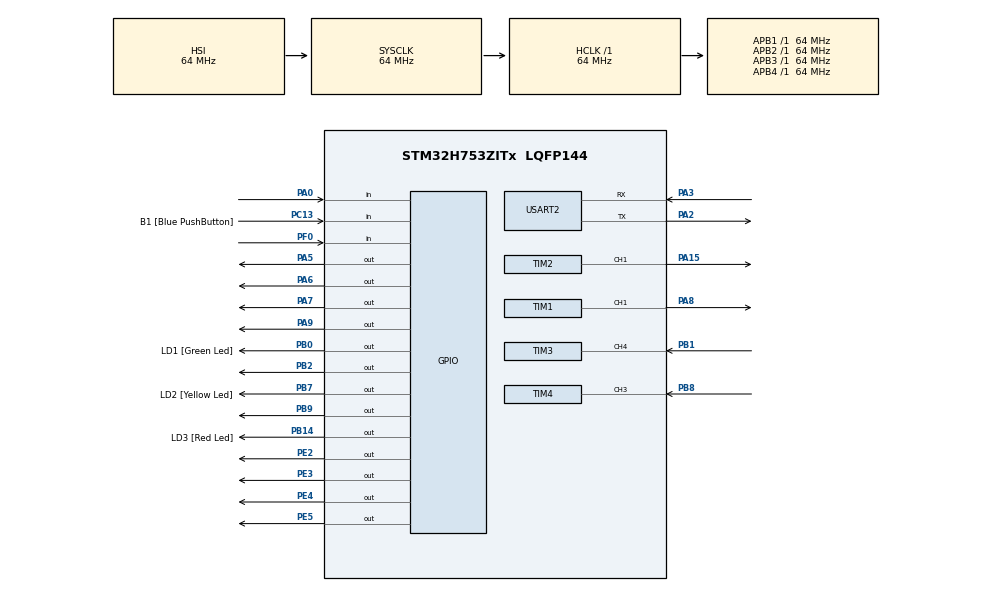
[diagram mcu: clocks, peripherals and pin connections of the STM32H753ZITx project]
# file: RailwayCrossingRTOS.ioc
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CORTEX_M7.CPU_DCache=Disabled
CORTEX_M7.CPU_ICache=Disabled
CORTEX_M7.MPU_Control=__NULL
CORTEX_M7.default_mode_Activation=1
FREERTOS.BinarySemaphores01=ultrasonicSemGate1,Dynamic,NULL,Depleted;ultrasonicSemGate2,Dynamic,NULL,Depleted
FREERTOS.Mutexes01=stateMutex,Dynamic,NULL,Available;printMutex,Dynamic,NULL,Available
FREERTOS.Queues01=printQueue,20,uint16_t,0,Dynamic,NULL,NULL
FREERTOS.Tasks01=defaultTask,24,128,StartDefaultTask,Default,NULL,Dynamic,NULL,NULL;SensorMonitor1,32,512,StartSensorMonitor1Task,Default,NULL,Dynamic,NULL,NULL;SensorMonitor2,32,512,StartSensorMonitor2Task,Default,NULL,Dynamic,NULL,NULL;ServoControl1,40,512,StartServoControl1Task,Default,NULL,Dynamic,NULL,NULL;ServoControl2,40,512,StartServoControl2Task,Default,NULL,Dynamic,NULL,NULL;LEDBuzzer,24,256,StartLEDBuzzerTask,Default,NULL,Dynamic,NULL,NULL;UARTPrint,8,256,StartUARTPrintTask,Default,NULL,Dynamic,NULL,NULL
FREERTOS.configUSE_NEWLIB_REENTRANT=1
Mcu.Family=STM32H7
Mcu.Name=STM32H753ZITx
Mcu.Package=LQFP144
NVIC.PriorityGroup=NVIC_PRIORITYGROUP_4
NVIC.TIM3_IRQn=true\:5\:0\:false\:false\:true\:true\:true\:true\:true
NVIC.TIM4_IRQn=true\:5\:0\:false\:false\:true\:true\:true\:true\:true
NVIC.TIM6_DAC_IRQn=true\:15\:0\:false\:false\:true\:false\:false\:true\:true
NVIC.TimeBase=TIM6_DAC_IRQn
NVIC.TimeBaseIP=TIM6
PA0.Signal=GPIO_Input
PA15\ (JTDI).Signal=S_TIM2_CH1_ETR
PA2.Mode=Asynchronous
PA2.Signal=USART2_TX
PA3.Mode=Asynchronous
PA3.Signal=USART2_RX
PA5.Signal=GPIO_Output
PA6.Signal=GPIO_Output
PA7.Signal=GPIO_Output
PA8.Signal=S_TIM1_CH1
PA9.Signal=GPIO_Output
PB0.GPIO_Label=LD1 [Green Led]
PB0.Signal=GPIO_Output
PB1.GPIO_Speed=GPIO_SPEED_FREQ_HIGH
PB1.Signal=S_TIM3_CH4
PB14.GPIO_Label=LD3 [Red Led]
PB14.Signal=GPIO_Output
PB2.Signal=GPIO_Output
PB7.GPIO_Label=LD2 [Yellow Led]
PB7.Signal=GPIO_Output
PB8.GPIO_Speed=GPIO_SPEED_FREQ_HIGH
PB8.Signal=S_TIM4_CH3
PB9.Signal=GPIO_Output
PC13.GPIO_Label=B1 [Blue PushButton]
PC13.Signal=GPIO_Input
PC14-OSC32_IN\ (OSC32_IN).Signal=RCC_OSC32_IN
PC15-OSC32_OUT\ (OSC32_OUT).Signal=RCC_OSC32_OUT
PD8.GPIO_Label=STLINK_RX
PD8.Signal=USART3_TX
PD9.GPIO_Label=STLINK_TX
PD9.Signal=USART3_RX
PE2.Signal=GPIO_Output
PE3.Signal=GPIO_Output
PE4.Signal=GPIO_Output
PE5.Signal=GPIO_Output
PF0.Signal=GPIO_Input
PH0-OSC_IN\ (PH0).Signal=RCC_OSC_IN
PH1-OSC_OUT\ (PH1).Signal=RCC_OSC_OUT
ProjectManager.HeapSize=0x200
ProjectManager.StackSize=0x400
ProjectManager.TargetToolchain=STM32CubeIDE
RCC.ADCFreq_Value=129000000
RCC.APB1Freq_Value=64000000
RCC.APB2Freq_Value=64000000
RCC.APB3Freq_Value=64000000
RCC.APB4Freq_Value=64000000
RCC.CortexFreq_Value=64000000
RCC.DIVM1=1
RCC.DIVN1=24
RCC.DIVQ1=4
RCC.HCLKFreq_Value=64000000
RCC.HSE_VALUE=8000000
RCC.PLLFRACN=0
RCC.PWR_Regulator_Voltage_Scale=PWR_REGULATOR_VOLTAGE_SCALE2
RCC.SYSCLKFreq_VALUE=64000000
RCC.USBFreq_Value=384000000
SH.S_TIM1_CH1.0=TIM1_CH1,PWM Generation1 CH1
SH.S_TIM2_CH1_ETR.0=TIM2_CH1,PWM Generation1 CH1
SH.S_TIM3_CH4.0=TIM3_CH4,Input_Capture4_from_TI4
SH.S_TIM4_CH3.0=TIM4_CH3,Input_Capture3_from_TI3
TIM1.Channel-PWM\ Generation1\ CH1=TIM_CHANNEL_1
TIM1.Period=1999
TIM1.Prescaler=639
TIM2.Channel-PWM\ Generation1\ CH1=TIM_CHANNEL_1
TIM2.Period=1999
TIM2.Prescaler=639
TIM3.Channel-Input_Capture4_from_TI4=TIM_CHANNEL_4
TIM3.Prescaler=199
TIM4.Channel-Input_Capture3_from_TI3=TIM_CHANNEL_3
TIM4.Prescaler=199
USART2.VirtualMode-Asynchronous=VM_ASYNC
VP_FREERTOS_VS_CMSIS_V2.Mode=CMSIS_V2
VP_MEMORYMAP_VS_MEMORYMAP.Mode=CurAppReg
VP_SYS_VS_tim6.Mode=TIM6
VP_TIM1_VS_ClockSourceINT.Mode=Internal
VP_TIM2_VS_ClockSourceINT.Mode=Internal
VP_TIM3_VS_ClockSourceINT.Mode=Internal
VP_TIM4_VS_ClockSourceINT.Mode=Internal
board=NUCLEO-H753ZI

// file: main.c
/* USER CODE BEGIN Header */
/**
  ******************************************************************************
  * @file           : main.c
  * @brief          : Main program body
  ******************************************************************************
  * @attention
  *
  * Copyright (c) 2026 STMicroelectronics.
  * All rights reserved.
  *
  * This software is licensed under terms that can be found in the LICENSE file
  * in the root directory of this software component.
  * If no LICENSE file comes with this software, it is provided AS-IS.
  *
  ******************************************************************************
  */
/* USER CODE END Header */
#include "main.h"
#include "cmsis_os.h"

/* USER CODE BEGIN Includes */
#include <stdio.h>
#include <string.h>
#include <stdarg.h>
/* USER CODE END Includes */

/* USER CODE BEGIN PD */
#define ULTRASONIC_MIN_CM 2.0f
#define ULTRASONIC_MAX_CM 15.0f
/* USER CODE END PD */

TIM_HandleTypeDef htim1;
TIM_HandleTypeDef htim2;
TIM_HandleTypeDef htim3;
TIM_HandleTypeDef htim4;

UART_HandleTypeDef huart2;

/* Definitions for defaultTask */
osThreadId_t defaultTaskHandle;
const osThreadAttr_t defaultTask_attributes = {
  .name = "defaultTask",
  .stack_size = 128 * 4,
  .priority = (osPriority_t) osPriorityNormal,
};
/* Definitions for SensorMonitor1 */
osThreadId_t SensorMonitor1Handle;
const osThreadAttr_t SensorMonitor1_attributes = {
  .name = "SensorMonitor1",
  .stack_size = 512 * 4,
  .priority = (osPriority_t) osPriorityAboveNormal,
};
/* Definitions for SensorMonitor2 */
osThreadId_t SensorMonitor2Handle;
const osThreadAttr_t SensorMonitor2_attributes = {
  .name = "SensorMonitor2",
  .stack_size = 512 * 4,
  .priority = (osPriority_t) osPriorityAboveNormal,
};
/* Definitions for ServoControl1 */
osThreadId_t ServoControl1Handle;
const osThreadAttr_t ServoControl1_attributes = {
  .name = "ServoControl1",
  .stack_size = 512 * 4,
  .priority = (osPriority_t) osPriorityHigh,
};
/* Definitions for ServoControl2 */
osThreadId_t ServoControl2Handle;
const osThreadAttr_t ServoControl2_attributes = {
  .name = "ServoControl2",
  .stack_size = 512 * 4,
  .priority = (osPriority_t) osPriorityHigh,
};
/* Definitions for LEDBuzzer */
osThreadId_t LEDBuzzerHandle;
const osThreadAttr_t LEDBuzzer_attributes = {
  .name = "LEDBuzzer",
  .stack_size = 256 * 4,
  .priority = (osPriority_t) osPriorityNormal,
};
/* Definitions for UARTPrint */
osThreadId_t UARTPrintHandle;
const osThreadAttr_t UARTPrint_attributes = {
  .name = "UARTPrint",
  .stack_size = 256 * 4,
  .priority = (osPriority_t) osPriorityLow,
};
/* Definitions for printQueue */
osMessageQueueId_t printQueueHandle;
const osMessageQueueAttr_t printQueue_attributes = {
  .name = "printQueue"
};
/* Definitions for stateMutex */
osMutexId_t stateMutexHandle;
const osMutexAttr_t stateMutex_attributes = {
  .name = "stateMutex"
};
/* Definitions for printMutex */
osMutexId_t printMutexHandle;
const osMutexAttr_t printMutex_attributes = {
  .name = "printMutex"
};
/* Definitions for ultrasonicSemGate1 */
osSemaphoreId_t ultrasonicSemGate1Handle;
const osSemaphoreAttr_t ultrasonicSemGate1_attributes = {
  .name = "ultrasonicSemGate1"
};
/* Definitions for ultrasonicSemGate2 */
osSemaphoreId_t ultrasonicSemGate2Handle;
const osSemaphoreAttr_t ultrasonicSemGate2_attributes = {
  .name = "ultrasonicSemGate2"
};
/* USER CODE BEGIN PV */
osEventFlagsId_t closeEvent;
osEventFlagsId_t openEvent;

volatile uint32_t ic_val1_gate1 = 0, ic_val2_gate1 = 0;
volatile uint8_t is_first_capture_gate1 = 0;
volatile uint32_t echo_ticks_gate1 = 0;
float distance_cm_gate1 = 0.0f;

volatile uint32_t ic_val1_gate2 = 0, ic_val2_gate2 = 0;
volatile uint8_t is_first_capture_gate2 = 0;
volatile uint32_t echo_ticks_gate2 = 0;
float distance_cm_gate2 = 0.0f;

float tick_us_pwm;

volatile uint8_t sweeping_down = 0;
volatile uint8_t gates_closed = 0;
volatile uint8_t gates_closed_count = 0;
volatile uint8_t train_passing = 0;
volatile float gate1_current_angle = 180.0f;
volatile float gate2_current_angle = 180.0f;

volatile uint32_t gate1_pause_end = 0;
volatile uint32_t gate2_pause_end = 0;
volatile uint32_t passing_end = 0;
volatile uint32_t open_delay_end = 0;
volatile uint32_t yellow_blink_end = 0;
volatile uint8_t system_state = 0; // 0=idle, 1=warning, 2=closing, 3=passing, 4=opening

uint32_t gates_opened_count = 0;  // Add this in your globals section
/* USER CODE END PV */

void SystemClock_Config(void);
static void MX_GPIO_Init(void);
static void MX_TIM1_Init(void);
static void MX_TIM2_Init(void);
static void MX_TIM3_Init(void);
static void MX_TIM4_Init(void);
static void MX_USART2_UART_Init(void);
void StartDefaultTask(void *argument);
void StartSensorMonitor1Task(void *argument);
void StartSensorMonitor2Task(void *argument);
void StartServoControl1Task(void *argument);
void StartServoControl2Task(void *argument);
void StartLEDBuzzerTask(void *argument);
void StartUARTPrintTask(void *argument);

/* USER CODE BEGIN PFP */
void delay_us(uint16_t us);
void HCSR04_Trigger_Gate1(void);
void HCSR04_Trigger_Gate2(void);
uint32_t Angle_to_CCR(float angle_deg);
float Check_Ultrasonic_Gate1(void);
float Check_Ultrasonic_Gate2(void);
void BlinkRedAndBuzzBoth(void);
void TurnOffAllFeedback(void);
void SetServoGate1(float angle);
void SetServoGate2(float angle);
void Print(const char *format, ...);
/* USER CODE END PFP */

/* USER CODE BEGIN 0 */
void delay_us(uint16_t us)
{
  __HAL_TIM_SET_COUNTER(&htim3, 0);
  while (__HAL_TIM_GET_COUNTER(&htim3) < us);
}

void HCSR04_Trigger_Gate1(void)
{
  HAL_GPIO_WritePin(GPIOB, GPIO_PIN_2, GPIO_PIN_RESET);
  delay_us(2);
  HAL_GPIO_WritePin(GPIOB, GPIO_PIN_2, GPIO_PIN_SET);
  delay_us(10);
  HAL_GPIO_WritePin(GPIOB, GPIO_PIN_2, GPIO_PIN_RESET);
}

void HCSR04_Trigger_Gate2(void)
{
  HAL_GPIO_WritePin(GPIOB, GPIO_PIN_9, GPIO_PIN_RESET);
  delay_us(2);
  HAL_GPIO_WritePin(GPIOB, GPIO_PIN_9, GPIO_PIN_SET);
  delay_us(10);
  HAL_GPIO_WritePin(GPIOB, GPIO_PIN_9, GPIO_PIN_RESET);
}

uint32_t Angle_to_CCR(float angle_deg)
{
  float pulse_us = 1000.0f + (angle_deg / 180.0f) * 1000.0f;
  return (uint32_t)(pulse_us / tick_us_pwm);
}

float Get_Ultrasonic_Distance_Gate1(void)
{
  HCSR04_Trigger_Gate1();
  vTaskDelay(pdMS_TO_TICKS(60));
  return distance_cm_gate1;
}

float Get_Ultrasonic_Distance_Gate2(void)
{
  HCSR04_Trigger_Gate2();
  vTaskDelay(pdMS_TO_TICKS(60));
  return distance_cm_gate2;
}

void BlinkRedAndBuzzBoth(void)
{
  HAL_GPIO_WritePin(GPIOA, GPIO_PIN_5, GPIO_PIN_SET);
  HAL_GPIO_WritePin(GPIOA, GPIO_PIN_9, GPIO_PIN_SET);
  HAL_GPIO_WritePin(GPIOE, GPIO_PIN_2, GPIO_PIN_SET);
  HAL_GPIO_WritePin(GPIOE, GPIO_PIN_5, GPIO_PIN_SET);
}

void TurnOffAllFeedback(void)
{
  HAL_GPIO_WritePin(GPIOA, GPIO_PIN_5|GPIO_PIN_6|GPIO_PIN_7|GPIO_PIN_9, GPIO_PIN_RESET);
  HAL_GPIO_WritePin(GPIOE, GPIO_PIN_2|GPIO_PIN_3|GPIO_PIN_4|GPIO_PIN_5, GPIO_PIN_RESET);
}

void SetServoGate1(float angle)
{
  __HAL_TIM_SET_COMPARE(&htim1, TIM_CHANNEL_1, Angle_to_CCR(angle));
}

void SetServoGate2(float angle)
{
  __HAL_TIM_SET_COMPARE(&htim2, TIM_CHANNEL_1, Angle_to_CCR(angle));
}

void Print(const char *format, ...)
{
  char buffer[128];
  va_list args;
  va_start(args, format);
  vsnprintf(buffer, sizeof(buffer), format, args);
  va_end(args);

  osMutexAcquire(printMutexHandle, osWaitForever);
  char *msg = pvPortMalloc(strlen(buffer) + 1);
  if (msg != NULL)
  {
    strcpy(msg, buffer);
    osMessageQueuePut(printQueueHandle, &msg, 0, osWaitForever);
  }
  osMutexRelease(printMutexHandle);
}
/* USER CODE END 0 */

int main(void)
{

  /* MCU Configuration--------------------------------------------------------*/

  /* Reset of all peripherals, Initializes the Flash interface and the Systick. */
  HAL_Init();

  /* Configure the system clock */
  SystemClock_Config();

  /* Initialize all configured peripherals */
  MX_GPIO_Init();
  MX_TIM1_Init();
  MX_TIM2_Init();
  MX_TIM3_Init();
  MX_TIM4_Init();
  MX_USART2_UART_Init();
  /* USER CODE BEGIN 2 */
  HAL_TIM_PWM_Start(&htim1, TIM_CHANNEL_1);
  HAL_TIM_PWM_Start(&htim2, TIM_CHANNEL_1);
  HAL_TIM_IC_Start_IT(&htim3, TIM_CHANNEL_4);
  HAL_TIM_IC_Start_IT(&htim4, TIM_CHANNEL_3);

  uint32_t timer_clk_freq = HAL_RCC_GetPCLK2Freq();
  tick_us_pwm = (htim1.Init.Prescaler + 1) * 1.0f / (timer_clk_freq / 1000000.0f);

  SetServoGate1(180.0f);
  SetServoGate2(180.0f);

  TurnOffAllFeedback();
  HAL_GPIO_WritePin(GPIOA, GPIO_PIN_7, GPIO_PIN_SET);
  HAL_GPIO_WritePin(GPIOE, GPIO_PIN_4, GPIO_PIN_SET);

  Print("\r\nRTOS System Ready – Gates Open (180°)\r\n");

  closeEvent = osEventFlagsNew(NULL);
  openEvent = osEventFlagsNew(NULL);
  /* USER CODE END 2 */

  /* Init scheduler */
  osKernelInitialize();
  /* Create the mutex(es) */
  /* creation of stateMutex */
  stateMutexHandle = osMutexNew(&stateMutex_attributes);

  /* creation of printMutex */
  printMutexHandle = osMutexNew(&printMutex_attributes);

  /* Create the semaphores(s) */
  /* creation of ultrasonicSemGate1 */
  ultrasonicSemGate1Handle = osSemaphoreNew(1, 0, &ultrasonicSemGate1_attributes);

  /* creation of ultrasonicSemGate2 */
  ultrasonicSemGate2Handle = osSemaphoreNew(1, 0, &ultrasonicSemGate2_attributes);

  /* Create the queue(s) */
  /* creation of printQueue */
  printQueueHandle = osMessageQueueNew (20, sizeof(char*), &printQueue_attributes);

  /* Create the thread(s) */
  /* creation of defaultTask */
  defaultTaskHandle = osThreadNew(StartDefaultTask, NULL, &defaultTask_attributes);

  /* creation of SensorMonitor1 */
  SensorMonitor1Handle = osThreadNew(StartSensorMonitor1Task, NULL, &SensorMonitor1_attributes);

  /* creation of SensorMonitor2 */
  SensorMonitor2Handle = osThreadNew(StartSensorMonitor2Task, NULL, &SensorMonitor2_attributes);

  /* creation of ServoControl1 */
  ServoControl1Handle = osThreadNew(StartServoControl1Task, NULL, &ServoControl1_attributes);

  /* creation of ServoControl2 */
  ServoControl2Handle = osThreadNew(StartServoControl2Task, NULL, &ServoControl2_attributes);

  /* creation of LEDBuzzer */
  LEDBuzzerHandle = osThreadNew(StartLEDBuzzerTask, NULL, &LEDBuzzer_attributes);

  /* creation of UARTPrint */
  UARTPrintHandle = osThreadNew(StartUARTPrintTask, NULL, &UARTPrint_attributes);

  /* Start scheduler */
  osKernelStart();

  /* We should never get here as control is now taken by the scheduler */

  /* Infinite loop */
  while (1)
  {

  }
}

void SystemClock_Config(void)
{
  RCC_OscInitTypeDef RCC_OscInitStruct = {0};
  RCC_ClkInitTypeDef RCC_ClkInitStruct = {0};

  /** Supply configuration update enable
  */
  HAL_PWREx_ConfigSupply(PWR_LDO_SUPPLY);

  /** Configure the main internal regulator output voltage
  */
  __HAL_PWR_VOLTAGESCALING_CONFIG(PWR_REGULATOR_VOLTAGE_SCALE2);

  while(!__HAL_PWR_GET_FLAG(PWR_FLAG_VOSRDY)) {}

  /** Initializes the RCC Oscillators according to the specified parameters
  * in the RCC_OscInitTypeDef structure.
  */
  RCC_OscInitStruct.OscillatorType = RCC_OSCILLATORTYPE_HSI;
  RCC_OscInitStruct.HSIState = RCC_HSI_DIV1;
  RCC_OscInitStruct.HSICalibrationValue = RCC_HSICALIBRATION_DEFAULT;
  RCC_OscInitStruct.PLL.PLLState = RCC_PLL_NONE;
  if (HAL_RCC_OscConfig(&RCC_OscInitStruct) != HAL_OK)
  {
    Error_Handler();
  }

  /** Initializes the CPU, AHB and APB buses clocks
  */
  RCC_ClkInitStruct.ClockType = RCC_CLOCKTYPE_HCLK|RCC_CLOCKTYPE_SYSCLK
                              |RCC_CLOCKTYPE_PCLK1|RCC_CLOCKTYPE_PCLK2
                              |RCC_CLOCKTYPE_D3PCLK1|RCC_CLOCKTYPE_D1PCLK1;
  RCC_ClkInitStruct.SYSCLKSource = RCC_SYSCLKSOURCE_HSI;
  RCC_ClkInitStruct.SYSCLKDivider = RCC_SYSCLK_DIV1;
  RCC_ClkInitStruct.AHBCLKDivider = RCC_HCLK_DIV1;
  RCC_ClkInitStruct.APB3CLKDivider = RCC_APB3_DIV1;
  RCC_ClkInitStruct.APB1CLKDivider = RCC_APB1_DIV1;
  RCC_ClkInitStruct.APB2CLKDivider = RCC_APB2_DIV1;
  RCC_ClkInitStruct.APB4CLKDivider = RCC_APB4_DIV1;

  if (HAL_RCC_ClockConfig(&RCC_ClkInitStruct, FLASH_LATENCY_1) != HAL_OK)
  {
    Error_Handler();
  }
}

static void MX_TIM1_Init(void)
{

  TIM_ClockConfigTypeDef sClockSourceConfig = {0};
  TIM_MasterConfigTypeDef sMasterConfig = {0};
  TIM_OC_InitTypeDef sConfigOC = {0};
  TIM_BreakDeadTimeConfigTypeDef sBreakDeadTimeConfig = {0};

  htim1.Instance = TIM1;
  htim1.Init.Prescaler = 639;
  htim1.Init.CounterMode = TIM_COUNTERMODE_UP;
  htim1.Init.Period = 1999;
  htim1.Init.ClockDivision = TIM_CLOCKDIVISION_DIV1;
  htim1.Init.RepetitionCounter = 0;
  htim1.Init.AutoReloadPreload = TIM_AUTORELOAD_PRELOAD_DISABLE;
  if (HAL_TIM_Base_Init(&htim1) != HAL_OK)
  {
    Error_Handler();
  }
  sClockSourceConfig.ClockSource = TIM_CLOCKSOURCE_INTERNAL;
  if (HAL_TIM_ConfigClockSource(&htim1, &sClockSourceConfig) != HAL_OK)
  {
    Error_Handler();
  }
  if (HAL_TIM_PWM_Init(&htim1) != HAL_OK)
  {
    Error_Handler();
  }
  sMasterConfig.MasterOutputTrigger = TIM_TRGO_RESET;
  sMasterConfig.MasterOutputTrigger2 = TIM_TRGO2_RESET;
  sMasterConfig.MasterSlaveMode = TIM_MASTERSLAVEMODE_DISABLE;
  if (HAL_TIMEx_MasterConfigSynchronization(&htim1, &sMasterConfig) != HAL_OK)
  {
    Error_Handler();
  }
  sConfigOC.OCMode = TIM_OCMODE_PWM1;
  sConfigOC.Pulse = 0;
  sConfigOC.OCPolarity = TIM_OCPOLARITY_HIGH;
  sConfigOC.OCNPolarity = TIM_OCNPOLARITY_HIGH;
  sConfigOC.OCFastMode = TIM_OCFAST_DISABLE;
  sConfigOC.OCIdleState = TIM_OCIDLESTATE_RESET;
  sConfigOC.OCNIdleState = TIM_OCNIDLESTATE_RESET;
  if (HAL_TIM_PWM_ConfigChannel(&htim1, &sConfigOC, TIM_CHANNEL_1) != HAL_OK)
  {
    Error_Handler();
  }
  sBreakDeadTimeConfig.OffStateRunMode = TIM_OSSR_DISABLE;
  sBreakDeadTimeConfig.OffStateIDLEMode = TIM_OSSI_DISABLE;
  sBreakDeadTimeConfig.LockLevel = TIM_LOCKLEVEL_OFF;
  sBreakDeadTimeConfig.DeadTime = 0;
  sBreakDeadTimeConfig.BreakState = TIM_BREAK_DISABLE;
  sBreakDeadTimeConfig.BreakPolarity = TIM_BREAKPOLARITY_HIGH;
  sBreakDeadTimeConfig.BreakFilter = 0;
  sBreakDeadTimeConfig.Break2State = TIM_BREAK2_DISABLE;
  sBreakDeadTimeConfig.Break2Polarity = TIM_BREAK2POLARITY_HIGH;
  sBreakDeadTimeConfig.Break2Filter = 0;
  sBreakDeadTimeConfig.AutomaticOutput = TIM_AUTOMATICOUTPUT_DISABLE;
  if (HAL_TIMEx_ConfigBreakDeadTime(&htim1, &sBreakDeadTimeConfig) != HAL_OK)
  {
    Error_Handler();
  }
  HAL_TIM_MspPostInit(&htim1);

}

static void MX_TIM2_Init(void)
{

  TIM_ClockConfigTypeDef sClockSourceConfig = {0};
  TIM_MasterConfigTypeDef sMasterConfig = {0};
  TIM_OC_InitTypeDef sConfigOC = {0};

  htim2.Instance = TIM2;
  htim2.Init.Prescaler = 639;
  htim2.Init.CounterMode = TIM_COUNTERMODE_UP;
  htim2.Init.Period = 1999;
  htim2.Init.ClockDivision = TIM_CLOCKDIVISION_DIV1;
  htim2.Init.AutoReloadPreload = TIM_AUTORELOAD_PRELOAD_DISABLE;
  if (HAL_TIM_Base_Init(&htim2) != HAL_OK)
  {
    Error_Handler();
  }
  sClockSourceConfig.ClockSource = TIM_CLOCKSOURCE_INTERNAL;
  if (HAL_TIM_ConfigClockSource(&htim2, &sClockSourceConfig) != HAL_OK)
  {
    Error_Handler();
  }
  if (HAL_TIM_PWM_Init(&htim2) != HAL_OK)
  {
    Error_Handler();
  }
  sMasterConfig.MasterOutputTrigger = TIM_TRGO_RESET;
  sMasterConfig.MasterSlaveMode = TIM_MASTERSLAVEMODE_DISABLE;
  if (HAL_TIMEx_MasterConfigSynchronization(&htim2, &sMasterConfig) != HAL_OK)
  {
    Error_Handler();
  }
  sConfigOC.OCMode = TIM_OCMODE_PWM1;
  sConfigOC.Pulse = 0;
  sConfigOC.OCPolarity = TIM_OCPOLARITY_HIGH;
  sConfigOC.OCFastMode = TIM_OCFAST_DISABLE;
  if (HAL_TIM_PWM_ConfigChannel(&htim2, &sConfigOC, TIM_CHANNEL_1) != HAL_OK)
  {
    Error_Handler();
  }
  HAL_TIM_MspPostInit(&htim2);

}

static void MX_TIM3_Init(void)
{

  TIM_ClockConfigTypeDef sClockSourceConfig = {0};
  TIM_MasterConfigTypeDef sMasterConfig = {0};
  TIM_IC_InitTypeDef sConfigIC = {0};

  htim3.Instance = TIM3;
  htim3.Init.Prescaler = 199;
  htim3.Init.CounterMode = TIM_COUNTERMODE_UP;
  htim3.Init.Period = 65535;
  htim3.Init.ClockDivision = TIM_CLOCKDIVISION_DIV1;
  htim3.Init.AutoReloadPreload = TIM_AUTORELOAD_PRELOAD_DISABLE;
  if (HAL_TIM_Base_Init(&htim3) != HAL_OK)
  {
    Error_Handler();
  }
  sClockSourceConfig.ClockSource = TIM_CLOCKSOURCE_INTERNAL;
  if (HAL_TIM_ConfigClockSource(&htim3, &sClockSourceConfig) != HAL_OK)
  {
    Error_Handler();
  }
  if (HAL_TIM_IC_Init(&htim3) != HAL_OK)
  {
    Error_Handler();
  }
  sMasterConfig.MasterOutputTrigger = TIM_TRGO_RESET;
  sMasterConfig.MasterSlaveMode = TIM_MASTERSLAVEMODE_DISABLE;
  if (HAL_TIMEx_MasterConfigSynchronization(&htim3, &sMasterConfig) != HAL_OK)
  {
    Error_Handler();
  }
  sConfigIC.ICPolarity = TIM_INPUTCHANNELPOLARITY_RISING;
  sConfigIC.ICSelection = TIM_ICSELECTION_DIRECTTI;
  sConfigIC.ICPrescaler = TIM_ICPSC_DIV1;
  sConfigIC.ICFilter = 0;
  if (HAL_TIM_IC_ConfigChannel(&htim3, &sConfigIC, TIM_CHANNEL_4) != HAL_OK)
  {
    Error_Handler();
  }

}

static void MX_TIM4_Init(void)
{

  TIM_ClockConfigTypeDef sClockSourceConfig = {0};
  TIM_MasterConfigTypeDef sMasterConfig = {0};
  TIM_IC_InitTypeDef sConfigIC = {0};

  htim4.Instance = TIM4;
  htim4.Init.Prescaler = 199;
  htim4.Init.CounterMode = TIM_COUNTERMODE_UP;
  htim4.Init.Period = 65535;
  htim4.Init.ClockDivision = TIM_CLOCKDIVISION_DIV1;
  htim4.Init.AutoReloadPreload = TIM_AUTORELOAD_PRELOAD_DISABLE;
  if (HAL_TIM_Base_Init(&htim4) != HAL_OK)
  {
    Error_Handler();
  }
  sClockSourceConfig.ClockSource = TIM_CLOCKSOURCE_INTERNAL;
  if (HAL_TIM_ConfigClockSource(&htim4, &sClockSourceConfig) != HAL_OK)
  {
    Error_Handler();
  }
  if (HAL_TIM_IC_Init(&htim4) != HAL_OK)
  {
    Error_Handler();
  }
  sMasterConfig.MasterOutputTrigger = TIM_TRGO_RESET;
  sMasterConfig.MasterSlaveMode = TIM_MASTERSLAVEMODE_DISABLE;
  if (HAL_TIMEx_MasterConfigSynchronization(&htim4, &sMasterConfig) != HAL_OK)
  {
    Error_Handler();
  }
  sConfigIC.ICPolarity = TIM_INPUTCHANNELPOLARITY_RISING;
  sConfigIC.ICSelection = TIM_ICSELECTION_DIRECTTI;
  sConfigIC.ICPrescaler = TIM_ICPSC_DIV1;
  sConfigIC.ICFilter = 0;
  if (HAL_TIM_IC_ConfigChannel(&htim4, &sConfigIC, TIM_CHANNEL_3) != HAL_OK)
  {
    Error_Handler();
  }

}

static void MX_USART2_UART_Init(void)
{

  huart2.Instance = USART2;
  huart2.Init.BaudRate = 115200;
  huart2.Init.WordLength = UART_WORDLENGTH_8B;
  huart2.Init.StopBits = UART_STOPBITS_1;
  huart2.Init.Parity = UART_PARITY_NONE;
  huart2.Init.Mode = UART_MODE_TX_RX;
  huart2.Init.HwFlowCtl = UART_HWCONTROL_NONE;
  huart2.Init.OverSampling = UART_OVERSAMPLING_16;
  huart2.Init.OneBitSampling = UART_ONE_BIT_SAMPLE_DISABLE;
  huart2.Init.ClockPrescaler = UART_PRESCALER_DIV1;
  huart2.AdvancedInit.AdvFeatureInit = UART_ADVFEATURE_NO_INIT;
  if (HAL_UART_Init(&huart2) != HAL_OK)
  {
    Error_Handler();
  }
  if (HAL_UARTEx_SetTxFifoThreshold(&huart2, UART_TXFIFO_THRESHOLD_1_8) != HAL_OK)
  {
    Error_Handler();
  }
  if (HAL_UARTEx_SetRxFifoThreshold(&huart2, UART_RXFIFO_THRESHOLD_1_8) != HAL_OK)
  {
    Error_Handler();
  }
  if (HAL_UARTEx_DisableFifoMode(&huart2) != HAL_OK)
  {
    Error_Handler();
  }

}

static void MX_GPIO_Init(void)
{
  GPIO_InitTypeDef GPIO_InitStruct = {0};

  /* GPIO Ports Clock Enable */
  __HAL_RCC_GPIOE_CLK_ENABLE();
  __HAL_RCC_GPIOC_CLK_ENABLE();
  __HAL_RCC_GPIOF_CLK_ENABLE();
  __HAL_RCC_GPIOH_CLK_ENABLE();
  __HAL_RCC_GPIOA_CLK_ENABLE();
  __HAL_RCC_GPIOB_CLK_ENABLE();
  __HAL_RCC_GPIOD_CLK_ENABLE();

  /*Configure GPIO pin Output Level */
  HAL_GPIO_WritePin(GPIOE, GPIO_PIN_2|GPIO_PIN_3|GPIO_PIN_4|GPIO_PIN_5, GPIO_PIN_RESET);

  /*Configure GPIO pin Output Level */
  HAL_GPIO_WritePin(GPIOA, GPIO_PIN_5|GPIO_PIN_6|GPIO_PIN_7|GPIO_PIN_9, GPIO_PIN_RESET);

  /*Configure GPIO pin Output Level */
  HAL_GPIO_WritePin(GPIOB, LD1_Pin|GPIO_PIN_2|LD3_Pin|LD2_Pin
                          |GPIO_PIN_9, GPIO_PIN_RESET);

  /*Configure GPIO pins : PE2 PE3 PE4 PE5 */
  GPIO_InitStruct.Pin = GPIO_PIN_2|GPIO_PIN_3|GPIO_PIN_4|GPIO_PIN_5;
  GPIO_InitStruct.Mode = GPIO_MODE_OUTPUT_PP;
  GPIO_InitStruct.Pull = GPIO_NOPULL;
  GPIO_InitStruct.Speed = GPIO_SPEED_FREQ_LOW;
  HAL_GPIO_Init(GPIOE, &GPIO_InitStruct);

  /*Configure GPIO pin : B1_Pin */
  GPIO_InitStruct.Pin = B1_Pin;
  GPIO_InitStruct.Mode = GPIO_MODE_INPUT;
  GPIO_InitStruct.Pull = GPIO_NOPULL;
  HAL_GPIO_Init(B1_GPIO_Port, &GPIO_InitStruct);

  /*Configure GPIO pin : PF0 */
  GPIO_InitStruct.Pin = GPIO_PIN_0;
  GPIO_InitStruct.Mode = GPIO_MODE_INPUT;
  GPIO_InitStruct.Pull = GPIO_NOPULL;
  HAL_GPIO_Init(GPIOF, &GPIO_InitStruct);

  /*Configure GPIO pin : PA0 */
  GPIO_InitStruct.Pin = GPIO_PIN_0;
  GPIO_InitStruct.Mode = GPIO_MODE_INPUT;
  GPIO_InitStruct.Pull = GPIO_NOPULL;
  HAL_GPIO_Init(GPIOA, &GPIO_InitStruct);

  /*Configure GPIO pins : PA5 PA6 PA7 PA9 */
  GPIO_InitStruct.Pin = GPIO_PIN_5|GPIO_PIN_6|GPIO_PIN_7|GPIO_PIN_9;
  GPIO_InitStruct.Mode = GPIO_MODE_OUTPUT_PP;
  GPIO_InitStruct.Pull = GPIO_NOPULL;
  GPIO_InitStruct.Speed = GPIO_SPEED_FREQ_LOW;
  HAL_GPIO_Init(GPIOA, &GPIO_InitStruct);

  /*Configure GPIO pins : LD1_Pin PB2 LD3_Pin LD2_Pin
                           PB9 */
  GPIO_InitStruct.Pin = LD1_Pin|GPIO_PIN_2|LD3_Pin|LD2_Pin
                          |GPIO_PIN_9;
  GPIO_InitStruct.Mode = GPIO_MODE_OUTPUT_PP;
  GPIO_InitStruct.Pull = GPIO_NOPULL;
  GPIO_InitStruct.Speed = GPIO_SPEED_FREQ_LOW;
  HAL_GPIO_Init(GPIOB, &GPIO_InitStruct);

  /*Configure GPIO pins : STLINK_RX_Pin STLINK_TX_Pin */
  GPIO_InitStruct.Pin = STLINK_RX_Pin|STLINK_TX_Pin;
  GPIO_InitStruct.Mode = GPIO_MODE_AF_PP;
  GPIO_InitStruct.Pull = GPIO_NOPULL;
  GPIO_InitStruct.Speed = GPIO_SPEED_FREQ_LOW;
  GPIO_InitStruct.Alternate = GPIO_AF7_USART3;
  HAL_GPIO_Init(GPIOD, &GPIO_InitStruct);

}

/* USER CODE BEGIN 4 */
void HAL_TIM_IC_CaptureCallback(TIM_HandleTypeDef *htim)
{
  if (htim->Instance == TIM3) // Gate 1
  {
    if (!is_first_capture_gate1)
    {
      ic_val1_gate1 = HAL_TIM_ReadCapturedValue(htim, TIM_CHANNEL_4);
      is_first_capture_gate1 = 1;
      __HAL_TIM_SET_CAPTUREPOLARITY(htim, TIM_CHANNEL_4, TIM_INPUTCHANNELPOLARITY_FALLING);
    }
    else
    {
      ic_val2_gate1 = HAL_TIM_ReadCapturedValue(htim, TIM_CHANNEL_4);

      if (ic_val2_gate1 > ic_val1_gate1)
        echo_ticks_gate1 = ic_val2_gate1 - ic_val1_gate1;
      else
        echo_ticks_gate1 = (0xFFFF - ic_val1_gate1) + ic_val2_gate1 + 1;

      distance_cm_gate1 = (echo_ticks_gate1 * 0.0343f * 3.125f) / 2.0f;

      is_first_capture_gate1 = 0;
      __HAL_TIM_SET_CAPTUREPOLARITY(htim, TIM_CHANNEL_4, TIM_INPUTCHANNELPOLARITY_RISING);
    }
  }
  else if (htim->Instance == TIM4) // Gate 2
  {
    if (!is_first_capture_gate2)
    {
      ic_val1_gate2 = HAL_TIM_ReadCapturedValue(htim, TIM_CHANNEL_3);
      is_first_capture_gate2 = 1;
      __HAL_TIM_SET_CAPTUREPOLARITY(htim, TIM_CHANNEL_3, TIM_INPUTCHANNELPOLARITY_FALLING);
    }
    else
    {
      ic_val2_gate2 = HAL_TIM_ReadCapturedValue(htim, TIM_CHANNEL_3);

      if (ic_val2_gate2 > ic_val1_gate2)
        echo_ticks_gate2 = ic_val2_gate2 - ic_val1_gate2;
      else
        echo_ticks_gate2 = (0xFFFF - ic_val1_gate2) + ic_val2_gate2 + 1;

      distance_cm_gate2 = (echo_ticks_gate2 * 0.0343f * 3.125f) / 2.0f;

      is_first_capture_gate2 = 0;
      __HAL_TIM_SET_CAPTUREPOLARITY(htim, TIM_CHANNEL_3, TIM_INPUTCHANNELPOLARITY_RISING);
    }
  }
}
/* USER CODE END 4 */

void StartDefaultTask(void *argument)
{
  /* USER CODE BEGIN 5 */
	/* USER CODE BEGIN StartDefaultTask */
	for(;;)
	{
	  vTaskDelay(1);
	}
	/* USER CODE END StartDefaultTask */
}
void StartSensorMonitor1Task(void *argument)
{
	/* USER CODE BEGIN StartSensorMonitor1Task */
	uint8_t last_ir1 = GPIO_PIN_SET;
	for(;;)
	{
	  uint8_t ir1 = HAL_GPIO_ReadPin(GPIOA, GPIO_PIN_0);
	  if (ir1 == GPIO_PIN_RESET && last_ir1 == GPIO_PIN_SET)
	  {
	    osMutexAcquire(stateMutexHandle, osWaitForever);
	    if (system_state == 0)
	    {
	      Print("IR Gate 1 Detected - Train Coming - Closing Both Gates\r\n");
	      system_state = 1; // Warning state
	      osEventFlagsSet(closeEvent, 0x01);
	    }
	    osMutexRelease(stateMutexHandle);
	    vTaskDelay(pdMS_TO_TICKS(200));
	  }
	  last_ir1 = ir1;
	  vTaskDelay(pdMS_TO_TICKS(50));
	}
	/* USER CODE END StartSensorMonitor1Task */
}

void StartSensorMonitor2Task(void *argument)
{
	/* USER CODE BEGIN StartSensorMonitor2Task */
	uint8_t last_ir2 = GPIO_PIN_SET;
	for(;;)
	{
	  uint8_t ir2 = HAL_GPIO_ReadPin(GPIOF, GPIO_PIN_0);
	  if (ir2 == GPIO_PIN_RESET && last_ir2 == GPIO_PIN_SET)
	  {
	    osMutexAcquire(stateMutexHandle, osWaitForever);
	    if (system_state == 3) // Passing state
	    {
	      Print("IR Gate 2 Detected - Train Exited - Opening Both Gates\r\n");
	      system_state = 4;
	      osEventFlagsSet(openEvent, 0x01);
	    }
	    osMutexRelease(stateMutexHandle);
	    vTaskDelay(pdMS_TO_TICKS(200));
	  }
	  last_ir2 = ir2;
	  vTaskDelay(pdMS_TO_TICKS(50));
	}
	/* USER CODE END StartSensorMonitor2Task */
}

void StartServoControl1Task(void *argument)
{
	/* USER CODE BEGIN StartServoControl1Task */
	for (;;)
	{
	  /* Wait for close command */
	  osEventFlagsWait(closeEvent, 0x01, osFlagsWaitAny, osWaitForever);
	  osEventFlagsClear(closeEvent, 0x01);

	  /* NEW: Both gates now wait 2 seconds for warning period (yellow lights assumed handled elsewhere or by hardware) */
	  vTaskDelay(pdMS_TO_TICKS(2000));

	  /* Yellow blinking removed from here - no more blocking delay unique to Gate 1 */

	  osMutexAcquire(stateMutexHandle, osWaitForever);
	  sweeping_down = 1;
	  system_state = 2;
	  osMutexRelease(stateMutexHandle);

	  gate1_current_angle = 180.0f;
	  gate1_pause_end = HAL_GetTick();

	  while (gate1_current_angle > 0.0f)
	  {
	    float dist = Get_Ultrasonic_Distance_Gate1();
	    if (dist >= ULTRASONIC_MIN_CM && dist <= ULTRASONIC_MAX_CM && HAL_GetTick() >= gate1_pause_end)
	    {
	      Print("Gate 1 Ultrasonic Detected at %.1f cm - Pausing at 90°, Wait 1s\r\n", dist);
	      SetServoGate1(90.0f);
	      gate1_pause_end = HAL_GetTick() + 1000;
	    }

	    if (HAL_GetTick() >= gate1_pause_end)
	    {
	      gate1_current_angle -= 10.0f;
	      if (gate1_current_angle < 0.0f) gate1_current_angle = 0.0f;
	      SetServoGate1(gate1_current_angle);
	      Print("Gate 1 Angle: %.1f°\r\n", gate1_current_angle);
	    }

	    vTaskDelay(pdMS_TO_TICKS(100));
	  }

	  Print("Gate 1 Closed\r\n");

	  osMutexAcquire(stateMutexHandle, osWaitForever);
	  gates_closed_count++;
	  if (gates_closed_count == 2)
	  {
	    Print("Both Gates Closed (0°) - Train Passing - 3s Delay\r\n");
	    passing_end = HAL_GetTick() + 3000;
	    gates_closed = 1;
	    system_state = 3;
	    gates_closed_count = 0;
	  }
	  osMutexRelease(stateMutexHandle);

	  /* Wait for open command */
	  osEventFlagsWait(openEvent, 0x01, osFlagsWaitAny, osWaitForever);
	  osEventFlagsClear(openEvent, 0x01);

	  open_delay_end = HAL_GetTick() + 1000;
	  while (HAL_GetTick() < open_delay_end)
	  {
	    vTaskDelay(pdMS_TO_TICKS(100));
	  }

	  osMutexAcquire(stateMutexHandle, osWaitForever);
	  sweeping_down = 0;
	  system_state = 4;
	  osMutexRelease(stateMutexHandle);

	  gate1_current_angle = 0.0f;
	  while (gate1_current_angle < 180.0f)
	  {
	    gate1_current_angle += 10.0f;
	    if (gate1_current_angle > 180.0f) gate1_current_angle = 180.0f;
	    SetServoGate1(gate1_current_angle);
	    Print("Gate 1 Angle: %.1f°\r\n", gate1_current_angle);
	    vTaskDelay(pdMS_TO_TICKS(100));
	  }

	  Print("Gate 1 Open\r\n");

	  osMutexAcquire(stateMutexHandle, osWaitForever);
	  gates_opened_count++;
	  if (gates_opened_count == 2)
	  {
	    sweeping_down = 0;
	    gates_closed = 0;
	    train_passing = 0;
	    system_state = 0;
	    gates_opened_count = 0;
	    Print("Both Gates Open (180°) - Safe State\r\n");
	  }
	  osMutexRelease(stateMutexHandle);
	}
	/* USER CODE END StartServoControl1Task */
}

void StartServoControl2Task(void *argument)
{
	/* USER CODE BEGIN StartServoControl2Task */
	for (;;)
	{
	  osEventFlagsWait(closeEvent, 0x01, osFlagsWaitAny, osWaitForever);
	  osEventFlagsClear(closeEvent, 0x01);

	  /* NEW: Add same 2-second delay as Gate 1 for perfect closing sync */
	  vTaskDelay(pdMS_TO_TICKS(2000));

	  osMutexAcquire(stateMutexHandle, osWaitForever);
	  sweeping_down = 1;
	  system_state = 2;
	  osMutexRelease(stateMutexHandle);

	  gate2_current_angle = 180.0f;
	  gate2_pause_end = HAL_GetTick();

	  while (gate2_current_angle > 0.0f)
	  {
	    float dist = Get_Ultrasonic_Distance_Gate2();
	    if (dist >= ULTRASONIC_MIN_CM && dist <= ULTRASONIC_MAX_CM && HAL_GetTick() >= gate2_pause_end)
	    {
	      Print("Gate 2 Ultrasonic Detected at %.1f cm - Pausing at 90°, Wait 1s\r\n", dist);
	      SetServoGate2(90.0f);
	      gate2_pause_end = HAL_GetTick() + 1000;
	    }

	    if (HAL_GetTick() >= gate2_pause_end)
	    {
	      gate2_current_angle -= 10.0f;
	      if (gate2_current_angle < 0.0f) gate2_current_angle = 0.0f;
	      SetServoGate2(gate2_current_angle);
	      Print("Gate 2 Angle: %.1f°\r\n", gate2_current_angle);
	    }

	    vTaskDelay(pdMS_TO_TICKS(100));
	  }

	  Print("Gate 2 Closed\r\n");

	  osMutexAcquire(stateMutexHandle, osWaitForever);
	  gates_closed_count++;
	  if (gates_closed_count == 2)
	  {
	    Print("Both Gates Closed (0°) - Train Passing - 3s Delay\r\n");
	    passing_end = HAL_GetTick() + 3000;
	    gates_closed = 1;
	    system_state = 3;
	    gates_closed_count = 0;
	  }
	  osMutexRelease(stateMutexHandle);

	  osEventFlagsWait(openEvent, 0x01, osFlagsWaitAny, osWaitForever);
	  osEventFlagsClear(openEvent, 0x01);

	  open_delay_end = HAL_GetTick() + 1000;
	  while (HAL_GetTick() < open_delay_end)
	  {
	    vTaskDelay(pdMS_TO_TICKS(100));
	  }

	  osMutexAcquire(stateMutexHandle, osWaitForever);
	  sweeping_down = 0;
	  system_state = 4;
	  osMutexRelease(stateMutexHandle);

	  gate2_current_angle = 0.0f;
	  while (gate2_current_angle < 180.0f)
	  {
	    gate2_current_angle += 10.0f;
	    if (gate2_current_angle > 180.0f) gate2_current_angle = 180.0f;
	    SetServoGate2(gate2_current_angle);
	    Print("Gate 2 Angle: %.1f°\r\n", gate2_current_angle);
	    vTaskDelay(pdMS_TO_TICKS(100));
	  }

	  Print("Gate 2 Open\r\n");

	  osMutexAcquire(stateMutexHandle, osWaitForever);
	  gates_opened_count++;
	  if (gates_opened_count == 2)
	  {
	    sweeping_down = 0;
	    gates_closed = 0;
	    train_passing = 0;
	    system_state = 0;
	    gates_opened_count = 0;
	    Print("Both Gates Open (180°) - Safe State\r\n");
	  }
	  osMutexRelease(stateMutexHandle);
	}
	/* USER CODE END StartServoControl2Task */
}

void StartLEDBuzzerTask(void *argument)
{
	/* USER CODE BEGIN StartLEDBuzzerTask */
	for(;;)
	{
	  osMutexAcquire(stateMutexHandle, osWaitForever);
	  uint8_t active = (system_state == 2 || system_state == 4); // Closing or opening
	  uint8_t passing = (system_state == 3);
	  osMutexRelease(stateMutexHandle);

	  if (passing)
	  {
	    BlinkRedAndBuzzBoth(); // Steady on during passing
	  }
	  else if (active)
	  {
	    BlinkRedAndBuzzBoth();
	    vTaskDelay(pdMS_TO_TICKS(500));
	    TurnOffAllFeedback();
	    vTaskDelay(pdMS_TO_TICKS(500));
	  }
	  else
	  {
	    TurnOffAllFeedback();
	    HAL_GPIO_WritePin(GPIOA, GPIO_PIN_7, GPIO_PIN_SET);
	    HAL_GPIO_WritePin(GPIOE, GPIO_PIN_4, GPIO_PIN_SET);
	  }

	  vTaskDelay(pdMS_TO_TICKS(50));
	}
	/* USER CODE END StartLEDBuzzerTask */
}

void StartUARTPrintTask(void *argument)
{
	/* USER CODE BEGIN StartUARTPrintTask */
	char *msg;
	for(;;)
	{
	  if (osMessageQueueGet(printQueueHandle, &msg, NULL, osWaitForever) == osOK)
	  {
	    HAL_UART_Transmit(&huart2, (uint8_t*)msg, strlen(msg), HAL_MAX_DELAY);
	    vPortFree(msg);
	  }
	}
	/* USER CODE END StartUARTPrintTask */
}

void HAL_TIM_PeriodElapsedCallback(TIM_HandleTypeDef *htim)
{
  if (htim->Instance == TIM6)
  {
    HAL_IncTick();
  }
}

void Error_Handler(void)
{
  __disable_irq();
  while (1)
  {
  }
}
